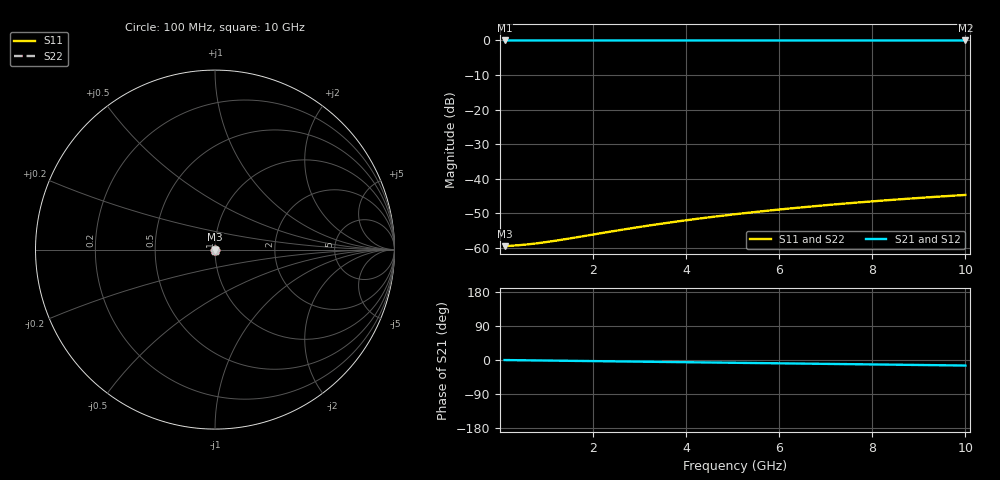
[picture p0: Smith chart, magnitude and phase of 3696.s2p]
# Hz S RI R 50.00
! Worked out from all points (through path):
!   100 points, 100 MHz to 10 GHz, reference 50 ohm
!   highest |S21| = -0.01 dB at 100 MHz (marker M1); lowest = 0.0 dB at 10 GHz (marker M2)
!   group delay of S21, straight-line fit = 4.06 ps
!   lowest |S11| = -59.6 dB at 100 MHz (marker M3), VSWR 1.00, Z = 50.1 - j0.0058 ohm
!   |S11| at or under -10 dB: start of sweep to end of sweep
!   |S22| runs from -59.6 to -44.7 dB; largest |S21 - S12| = 0
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1e8  0.00105 -5.79e-05  0.9989 -0.00253  0.9989 -0.00253  0.00105 -5.79e-05
3e8  0.00106 -0.000174  0.9989 -0.0076  0.9989 -0.0076  0.00106 -0.000174
5e8  0.00106 -0.00029  0.9988 -0.0127  0.9988 -0.0127  0.00106 -0.00029
8e8  0.00106 -0.000464  0.9987 -0.0203  0.9987 -0.0203  0.00106 -0.000464
1e9  0.00106 -0.00058  0.9986 -0.0253  0.9986 -0.0253  0.00106 -0.00058
1.2e9  0.00105 -0.000697  0.9984 -0.0304  0.9984 -0.0304  0.00105 -0.000697
1.5e9  0.00104 -0.000872  0.9982 -0.038  0.9982 -0.038  0.00104 -0.000872
1.8e9  0.00103 -0.00105  0.9978 -0.0456  0.9978 -0.0456  0.00103 -0.00105
2.7e9  0.000975 -0.00158  0.9965 -0.0684  0.9965 -0.0684  0.000975 -0.00158
3.1e9  0.000942 -0.00181  0.9957 -0.0785  0.9957 -0.0785  0.000942 -0.00181
3.4e9  0.000914 -0.00199  0.9951 -0.0861  0.9951 -0.0861  0.000914 -0.00199
3.8e9  0.000871 -0.00223  0.9942 -0.0962  0.9942 -0.0962  0.000871 -0.00223
4.2e9  0.000824 -0.00246  0.9931 -0.1063  0.9931 -0.1063  0.000824 -0.00246
4.6e9  0.000772 -0.0027  0.992 -0.1164  0.992 -0.1164  0.000772 -0.0027
5.1e9  0.0007 -0.00299  0.9904 -0.1291  0.9904 -0.1291  0.0007 -0.00299
5.5e9  0.000637 -0.00323  0.989 -0.1392  0.989 -0.1392  0.000637 -0.00323
5.9e9  0.000569 -0.00346  0.9875 -0.1492  0.9875 -0.1492  0.000569 -0.00346
6.7e9  0.000419 -0.00393  0.9843 -0.1694  0.9843 -0.1694  0.000419 -0.00393
7.5e9  0.00025 -0.00439  0.9806 -0.1895  0.9806 -0.1895  0.00025 -0.00439
8.4e9  3.71e-05 -0.00491  0.9759 -0.212  0.9759 -0.212  3.71e-05 -0.00491
9.2e9  -0.000171 -0.00535  0.9714 -0.2319  0.9714 -0.2319  -0.000171 -0.00535
1e10  -0.000397 -0.00579  0.9664 -0.2518  0.9664 -0.2518  -0.000397 -0.00579
